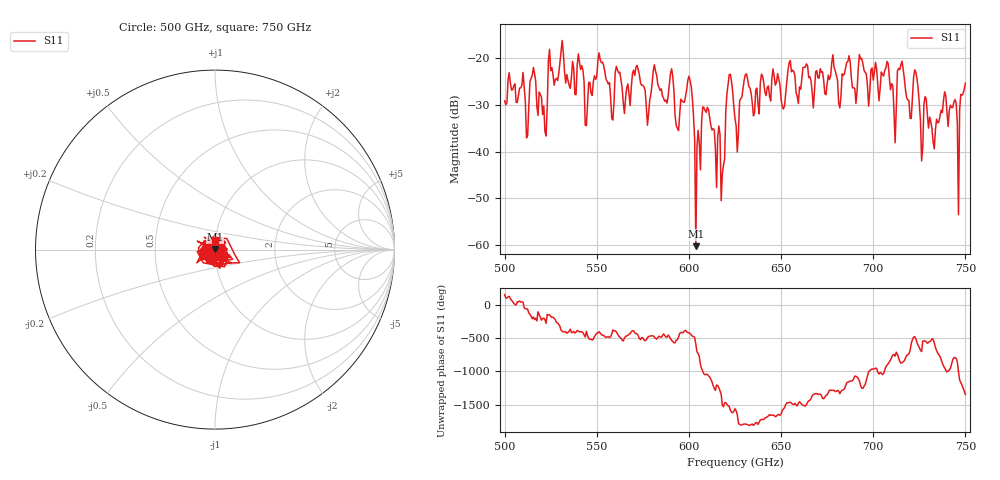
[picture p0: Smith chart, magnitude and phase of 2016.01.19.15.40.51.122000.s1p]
!Created with skrf (http://scikit-rf.org).
# GHz S RI R 50.0
!freq ReS11 ImS11
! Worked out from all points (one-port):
!   401 points, 500 GHz to 750 GHz, reference 50 ohm
!   lowest |S11| = -60.3 dB at 603.8 GHz (marker M1), VSWR 1.00, Z = 49.9 + j0.0721 ohm
!   |S11| at or under -10 dB: start of sweep to end of sweep
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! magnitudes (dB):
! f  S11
! 500 GHz  -29.1
! 511.9 GHz  -37.1
! 515.6 GHz  -22.0
! 521.9 GHz  -35.7
! 525 GHz  -22.6
! 531.2 GHz  -16.2
! 544.4 GHz  -34.4
! 551.9 GHz  -20.3
! 558.1 GHz  -32.9
! 562.5 GHz  -23.0
! 590.6 GHz  -22.2
! 593.8 GHz  -35.0
! 600.6 GHz  -24.7
! 603.8 GHz  -60.3
! 608.8 GHz  -31.2
! 618.1 GHz  -44.8
! 621.9 GHz  -23.5
! 625 GHz  -32.9
! 630.6 GHz  -23.5
! 651.2 GHz  -30.9
! 656.2 GHz  -22.5
! 687.5 GHz  -20.8
! 707.5 GHz  -20.7
! 711.2 GHz  -31.4
! 715 GHz  -21.4
! 718.8 GHz  -28.9
! 745.6 GHz  -33.9
! 750 GHz  -25.3
